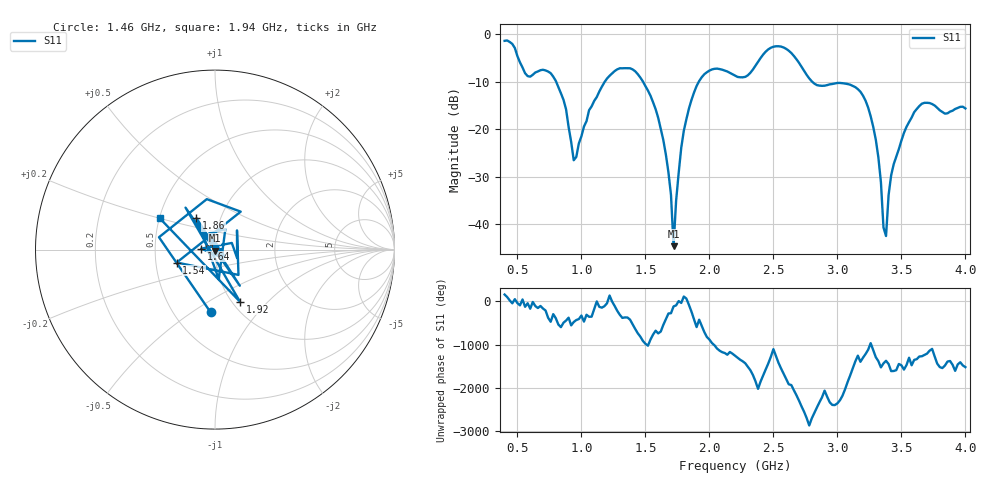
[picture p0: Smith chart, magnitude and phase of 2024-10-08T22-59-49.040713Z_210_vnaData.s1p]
! Created with skrf (http://scikit-rf.org).
# Hz S RI R 50.0
!freq ReS11 ImS11
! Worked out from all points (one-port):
!   181 points, 400 MHz to 4 GHz, reference 50 ohm
!   lowest |S11| = -44.6 dB at 1.72 GHz (marker M1), VSWR 1.01, Z = 49.7 - j0.516 ohm
!   |S11| at or under -10 dB: 802.9 MHz to 1.182 GHz (379.4 MHz wide, 38.2 % of centre); 1.482 GHz to 1.917 GHz (435.2 MHz wide, 25.6 % of centre); 2.804 GHz to end of sweep
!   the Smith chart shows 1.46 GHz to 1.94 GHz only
!   S11 on the Smith chart (normalised r, x): 1.46 GHz: 0.75, -0.60; 1.54 GHz: 0.64, -0.10; 1.64 GHz: 0.86, +0.01; 1.86 GHz: 0.77, +0.28; 1.92 GHz: 1.09, -0.70; 1.94 GHz: 0.50, +0.20
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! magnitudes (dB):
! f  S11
! 400 MHz  -1.4
! 580 MHz  -8.8
! 760 MHz  -8.2
! 860 MHz  -13.8
! 940 MHz  -26.5
! 1.06 GHz  -16.0
! 1.3 GHz  -7.2
! 1.46 GHz  -9.1
! 1.54 GHz  -12.9
! 1.64 GHz  -22.3
! 1.7 GHz  -33.9
! 1.72 GHz  -44.6
! 1.76 GHz  -29.2
! 1.86 GHz  -13.8
! 1.92 GHz  -9.8
! 1.94 GHz  -9.0
! 2.2 GHz  -8.7
! 2.5 GHz  -2.6
! 2.66 GHz  -4.6
! 2.84 GHz  -10.7
! 3.1 GHz  -10.6
! 3.28 GHz  -19.5
! 3.36 GHz  -40.7
! 3.38 GHz  -42.5
! 3.42 GHz  -29.7
! 3.56 GHz  -18.5
! 3.68 GHz  -14.4
! 4 GHz  -15.6
